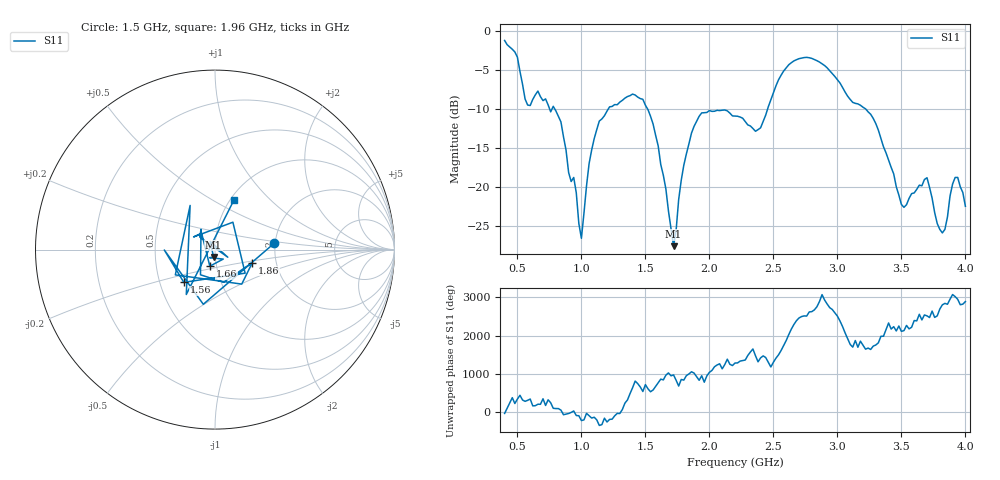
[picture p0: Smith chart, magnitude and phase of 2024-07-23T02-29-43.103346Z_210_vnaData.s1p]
!Created with skrf (http://scikit-rf.org).
# Hz S RI R 50.0
!freq ReS11 ImS11
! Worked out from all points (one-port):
!   181 points, 400 MHz to 4 GHz, reference 50 ohm
!   lowest |S11| = -27.6 dB at 1.72 GHz (marker M1), VSWR 1.09, Z = 49 - j4.01 ohm
!   |S11| at or under -10 dB: 790.2 MHz to 1.212 GHz (421.6 MHz wide, 42.1 % of centre); 1.515 GHz to 2.456 GHz (940.3 MHz wide, 47.4 % of centre); 3.217 GHz to end of sweep (the widest 3 of 4)
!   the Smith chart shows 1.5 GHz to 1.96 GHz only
!   S11 on the Smith chart (normalised r, x): 1.5 GHz: 1.98, +0.16; 1.56 GHz: 0.66, -0.26; 1.66 GHz: 0.93, -0.17; 1.86 GHz: 1.50, -0.23; 1.96 GHz: 1.04, +0.64
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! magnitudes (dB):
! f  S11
! 400 MHz  -1.3
! 500 MHz  -3.4
! 580 MHz  -9.5
! 660 MHz  -7.8
! 860 MHz  -13.6
! 940 MHz  -18.8
! 1 GHz  -26.6
! 1.1 GHz  -13.8
! 1.3 GHz  -9.2
! 1.5 GHz  -9.6
! 1.56 GHz  -12.0
! 1.66 GHz  -20.3
! 1.72 GHz  -27.6
! 1.76 GHz  -21.6
! 1.86 GHz  -13.1
! 1.96 GHz  -10.5
! 2.2 GHz  -11.0
! 2.4 GHz  -12.5
! 2.66 GHz  -3.9
! 2.88 GHz  -4.3
! 3.1 GHz  -8.8
! 3.28 GHz  -11.3
! 3.5 GHz  -22.3
! 3.56 GHz  -21.5
! 3.7 GHz  -18.9
! 3.82 GHz  -25.9
! 3.92 GHz  -18.8
! 4 GHz  -22.5
